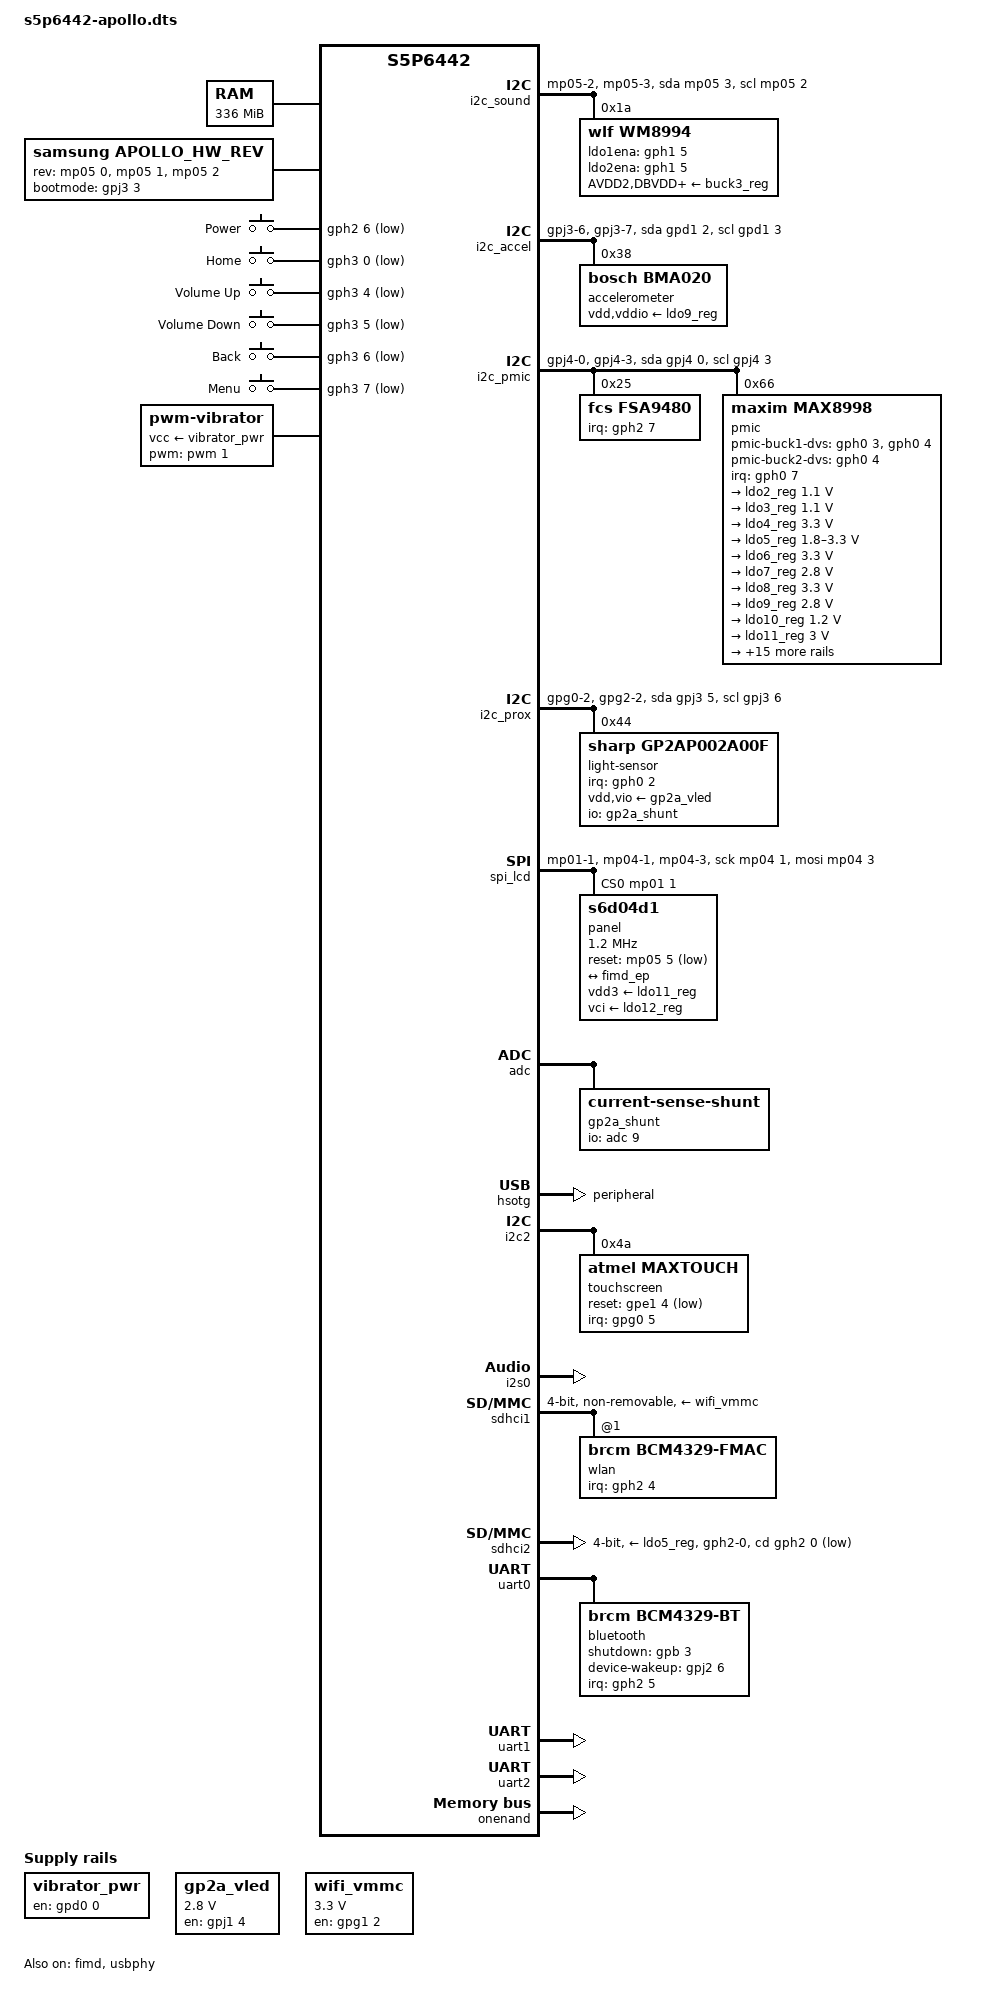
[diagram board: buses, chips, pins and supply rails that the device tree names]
// SPDX-License-Identifier: GPL-2.0
/*
 * Samsung's S5P6442 based Galaxy Apollo board device tree source
 */

/dts-v1/;
#include <dt-bindings/gpio/gpio.h>
#include <dt-bindings/input/input.h>
#include <dt-bindings/interrupt-controller/irq.h>
#include "s5p6442.dtsi"

/ {
	compatible = "samsung,apollo", "samsung,s5p6442";

	aliases: aliases {
		mmc0 = &sdhci2;		// SD Card
		mmc1 = &sdhci1;		// Wi-Fi

		i2c4 = &i2c_sound;
		i2c5 = &i2c_accel;
		i2c6 = &i2c_pmic;
		i2c7 = &i2c_prox;
//		i2c8 = &i2c_fuel;
//		i2c9 = &i2c_touchkey;
//		i2c10 = &i2c_magnetometer;
	};

	memory@20000000 {
		device_type = "memory";
		reg = <0x20000000 0x10000000>,
			<0x40000000 0x05000000>;
	};

	reserved-memory {
		#address-cells = <1>;
		#size-cells = <1>;
		ranges;

		mfc_left: region@43000000 {
			compatible = "shared-dma-pool";
			no-map;
			reg = <0x43000000 0x2000000>;
		};

		mfc_right: region@51000000 {
			compatible = "shared-dma-pool";
			no-map;
			reg = <0x51000000 0x2000000>;
		};
	};

	pmic_ap_clk: clock-0 {
		/* Workaround for missing clock on PMIC */
		compatible = "fixed-clock";
		#clock-cells = <0>;
		clock-frequency = <32768>;
	};

	apollo_hw_rev: apollo_hw_rev {
		compatible = "samsung,apollo_hw_rev";

		rev-gpios = <&mp05 0 GPIO_ACTIVE_HIGH>,   /* Rev Pin 0 */
                    <&mp05 1 GPIO_ACTIVE_HIGH>,   /* Rev Pin 1 */
                    <&mp05 2 GPIO_ACTIVE_HIGH>;   /* Rev Pin 2 */
        bootmode-gpios = <&gpj3 3 GPIO_ACTIVE_HIGH>;
	};

	bt_codec: bt-sco {
		compatible = "linux,bt-sco";
		#sound-dai-cells = <0>;
	};

	vibrator_pwr: regulator-fixed-0 {
		compatible = "regulator-fixed";
		regulator-name = "vibrator-en";
		enable-active-high;
		gpio = <&gpd0 0 GPIO_ACTIVE_HIGH>; // FIXED? GPIO_VIBTONE_PWM			S5P64XX_GPD0(0)

		pinctrl-names = "default";
		pinctrl-0 = <&vibrator_ena>;
	};

	/*
	// Maybe this is needed in GT-i5801, but GT-i5800 has no touchkeys
	touchkey_vdd: regulator-fixed-1 {
		compatible = "regulator-fixed";
		regulator-name = "VTOUCH_3.3V";
		regulator-min-microvolt = <3300000>;
		regulator-max-microvolt = <3300000>;
		enable-active-high;
		gpio = <&gpj3 2 GPIO_ACTIVE_HIGH>; // UNKNOWN

		pinctrl-names = "default";
		pinctrl-0 = <&touchkey_vdd_ena>;
	};
	*/

    gpio-keys {
        compatible = "gpio-keys";
        pinctrl-names = "default";
        pinctrl-0 = <&apollo_power_key &apollo_keys>;

		power {
            label = "Power";
            gpios = <&gph2 6 GPIO_ACTIVE_LOW>;
            linux,code = <KEY_POWER>;
            wakeup-source;
            debounce-interval = <10>;
        };

        home {
            label = "Home";
            gpios = <&gph3 0 GPIO_ACTIVE_LOW>;
            linux,code = <KEY_HOME>;
            wakeup-source;
            debounce-interval = <10>;
        };
		
        volume-up {
            label = "Volume Up";
            gpios = <&gph3 4 GPIO_ACTIVE_LOW>;
            linux,code = <KEY_VOLUMEUP>;
            wakeup-source;
            debounce-interval = <10>;
        };

        volume-down {
            label = "Volume Down";
            gpios = <&gph3 5 GPIO_ACTIVE_LOW>;
            linux,code = <KEY_VOLUMEDOWN>;
            wakeup-source;
            debounce-interval = <10>;
        };

		back {
            label = "Back";
            gpios = <&gph3 6 GPIO_ACTIVE_LOW>;
            linux,code = <KEY_BACK>;
            wakeup-source;
            debounce-interval = <10>;
        };
		
		menu {
            label = "Menu";
            gpios = <&gph3 7 GPIO_ACTIVE_LOW>;
            linux,code = <KEY_MENU>;
            wakeup-source;
            debounce-interval = <10>;
        };
    };

	gp2a_vled: regulator-fixed-2 {
		compatible = "regulator-fixed";
		regulator-name = "VLED";
		enable-active-high;
		gpio = <&gpj1 4 GPIO_ACTIVE_HIGH>; // UNKNOWN
		regulator-min-microvolt = <2800000>;
		regulator-max-microvolt = <2800000>;

		pinctrl-names = "default";
		pinctrl-0 = <&gp2a_power>;
	};

	wifi_pwrseq: wifi-pwrseq {
		compatible = "mmc-pwrseq-simple";
//		reset-gpios = <&gpg1 2 GPIO_ACTIVE_HIGH>; // CONFIRMED

		pinctrl-names = "default";
		pinctrl-0 = <&wlan_gpio_rst>;
		post-power-on-delay-ms = <500>;
		power-off-delay-us = <500>;
	};

	wifi_vmmc: wifi-vmmc {
		compatible = "regulator-fixed";
		regulator-name = "v_batt_wlan";
		regulator-min-microvolt = <3300000>;
		regulator-max-microvolt = <3300000>;
		
		gpio = <&gpg1 2 GPIO_ACTIVE_HIGH>; 
		enable-active-high;
		regulator-always-on;
		regulator-boot-on;
		
		startup-delay-us = <20000>; /* Give it a 20ms hardware stabilization window */
	};

	i2c_sound: i2c-gpio-0 {
		compatible = "i2c-gpio";
		sda-gpios = <&mp05 3 (GPIO_ACTIVE_HIGH | GPIO_OPEN_DRAIN)>; // ASSUMED
		scl-gpios = <&mp05 2 (GPIO_ACTIVE_HIGH | GPIO_OPEN_DRAIN)>; // ASSUMED
		i2c-gpio,delay-us = <2>;
		#address-cells = <1>;
		#size-cells = <0>;

		pinctrl-names = "default";
		pinctrl-0 = <&sound_i2c_pins>;

		wm8994: audio-codec@1a {
			compatible = "wlf,wm8994";
			reg = <0x1a>;

			#sound-dai-cells = <0>;

			gpio-controller;
			#gpio-cells = <2>;

			clocks = <&clocks MOUT_CLKOUT>;
			clock-names = "MCLK1";

			AVDD2-supply = <&buck3_reg>;
			DBVDD-supply = <&buck3_reg>;
			CPVDD-supply = <&buck3_reg>;
			SPKVDD1-supply = <&buck3_reg>;
			SPKVDD2-supply = <&buck3_reg>;

			wlf,gpio-cfg = <0xa101 0x8100 0x0100 0x0100 0x8100
					0xa101 0x0100 0x8100 0x0100 0x0100
					0x0100>;

			wlf,ldo1ena-gpios = <&gph1 5 GPIO_ACTIVE_HIGH>; // ASSUMED	GPIO_CODEC_LDO_EN			S5P64XX_GPH1(5)
			wlf,ldo2ena-gpios = <&gph1 5 GPIO_ACTIVE_HIGH>; // AS ABOVE

			wlf,lineout1-se;
			wlf,lineout2-se;

			assigned-clocks = <&clocks MOUT_CLKOUT>;
			assigned-clock-rates = <0>;
			assigned-clock-parents = <&xusbxti>;

			pinctrl-names = "default";
			pinctrl-0 = <&codec_ldo>;
		};
	};

	i2c_accel: i2c-gpio-1 {
		compatible = "i2c-gpio";
		sda-gpios = <&gpd1 2 (GPIO_ACTIVE_HIGH | GPIO_OPEN_DRAIN)>; // FIXED
		scl-gpios = <&gpd1 3 (GPIO_ACTIVE_HIGH | GPIO_OPEN_DRAIN)>; // FIXED
		i2c-gpio,delay-us = <2>;
		#address-cells = <1>;
		#size-cells = <0>;

		pinctrl-names = "default";
		pinctrl-0 = <&accel_i2c_pins>;

		accelerometer@38 {
			compatible = "bosch,bma020";
			reg = <0x38>;

			vdd-supply = <&ldo9_reg>;
			vddio-supply = <&ldo9_reg>;
		};
	};

	i2c_pmic: i2c-gpio-2 {
		compatible = "i2c-gpio";
		sda-gpios = <&gpj4 0 (GPIO_ACTIVE_HIGH | GPIO_OPEN_DRAIN)>; // CONFIRMED
		scl-gpios = <&gpj4 3 (GPIO_ACTIVE_HIGH | GPIO_OPEN_DRAIN)>; // CONFIRMED
		i2c-gpio,delay-us = <2>;
		#address-cells = <1>;
		#size-cells = <0>;

		pinctrl-names = "default";
		pinctrl-0 = <&pmic_i2c_pins>;

		fsa9480: musb@25 {
			compatible = "fcs,fsa9480";
			reg = <0x25>;
			interrupt-parent = <&gph2>;
			interrupts = <7 IRQ_TYPE_EDGE_FALLING>;

			pinctrl-names = "default";
			pinctrl-0 = <&musb_irq>;
		};

		pmic@66 {
			compatible = "maxim,max8998";
			reg = <0x66>;
			interrupt-parent = <&gph0>;
			interrupts = <7 IRQ_TYPE_EDGE_FALLING>;

			max8998,pmic-buck1-default-dvs-idx = <1>;
			max8998,pmic-buck1-dvs-gpios = <&gph0 3 GPIO_ACTIVE_HIGH>, // CONFIRMED
							<&gph0 4 GPIO_ACTIVE_HIGH>;
			max8998,pmic-buck1-dvs-voltage = <1275000>, <1200000>,
							<1050000>, <950000>;

			max8998,pmic-buck2-default-dvs-idx = <0>;
			max8998,pmic-buck2-dvs-gpio = <&gph0 4 GPIO_ACTIVE_HIGH>; // CONFIRMED
			max8998,pmic-buck2-dvs-voltage = <1100000>, <1000000>;

			extcon = "&fsa9480";

			pinctrl-names = "default";
			pinctrl-0 = <&pmic_dvs_pins &pmic_irq>;

			charger {
				compatible = "maxim,max8998-charger";
			};

			regulators {
				ldo2_reg: LDO2 { // CONFIRMED
					regulator-name = "VALIVE_1.1V";
					regulator-min-microvolt = <1100000>;
					regulator-max-microvolt = <1100000>;
					regulator-always-on;

					regulator-state-mem {
						regulator-on-in-suspend;
					};
				};

				ldo3_reg: LDO3 { // CONFIRMED
					regulator-name = "VUSB_1.1V";
					regulator-min-microvolt = <1100000>;
					regulator-max-microvolt = <1100000>;

					regulator-state-mem {
						regulator-off-in-suspend;
					};
				};

				ldo4_reg: LDO4 { // CONFIRMED
					regulator-name = "VWLAN_3.3V";
					regulator-min-microvolt = <3300000>;
					regulator-max-microvolt = <3300000>;
					
					regulator-always-on;
        			regulator-boot-on;

					regulator-state-mem {
						regulator-off-in-suspend;
					};
				};

				ldo5_reg: LDO5 { // CONFIRMED
					regulator-name = "VTF_3.3V";
					regulator-min-microvolt = <1800000>;
					regulator-max-microvolt = <3300000>;

					regulator-state-mem {
						regulator-off-in-suspend;
					};
				};

				ldo6_reg: LDO6 { // CONFIRMED
					regulator-name = "VCC_3.3V";
					regulator-min-microvolt = <3300000>;
					regulator-max-microvolt = <3300000>;

					regulator-state-mem {
						regulator-off-in-suspend;
					};
				};

				ldo7_reg: LDO7 { // CONFIRMED
					regulator-name = "VLCD_2.8V";
					regulator-min-microvolt = <2800000>;
					regulator-max-microvolt = <2800000>;

					regulator-state-mem {
						regulator-off-in-suspend;
					};
				};

				ldo8_reg: LDO8 { // CONFIRMED
					regulator-name = "VUSB_3.3V";
					regulator-min-microvolt = <3300000>;
					regulator-max-microvolt = <3300000>;

					regulator-state-mem {
						regulator-off-in-suspend;
					};
				};

				ldo9_reg: LDO9 { // LIKELY
					regulator-name = "VCC_2.8V_PDA";
					regulator-min-microvolt = <2800000>;
					regulator-max-microvolt = <2800000>;
					regulator-always-on;
				};

				ldo10_reg: LDO10 { // CONFIRMED
					regulator-name = "VPLL_1.2V";
					regulator-min-microvolt = <1200000>;
					regulator-max-microvolt = <1200000>;
					regulator-always-on;

					regulator-state-mem {
						regulator-on-in-suspend;
					};
				};

				ldo11_reg: LDO11 {
					regulator-name = "VLCD_3.0V";
					regulator-min-microvolt = <3000000>;
					regulator-max-microvolt = <3000000>;

					regulator-state-mem {
						regulator-off-in-suspend;
					};
				};

				ldo12_reg: LDO12 {
					regulator-name = "VLCD_1.8V";
					regulator-min-microvolt = <1800000>;
					regulator-max-microvolt = <1800000>;

					regulator-state-mem {
						regulator-off-in-suspend;
					};
				};

				ldo13_reg: LDO13 {
					regulator-name = "VTOUCH_2.8V";
					regulator-min-microvolt = <2800000>;
					regulator-max-microvolt = <2800000>;

					regulator-state-mem {
						regulator-off-in-suspend;
					};
				};

				ldo14_reg: LDO14 {
					regulator-name = "VTOUCH_3.0V";
					regulator-min-microvolt = <3000000>;
					regulator-max-microvolt = <3000000>;

					regulator-state-mem {
						regulator-off-in-suspend;
					};
				};

				ldo15_reg: LDO15 {
					regulator-name = "VPWM_3.3V";
					regulator-min-microvolt = <3300000>;
					regulator-max-microvolt = <3300000>;

					regulator-state-mem {
						regulator-off-in-suspend;
					};
				};

				ldo16_reg: LDO16 {
					regulator-name = "VPROX_3.0V";
					regulator-min-microvolt = <3000000>;
					regulator-max-microvolt = <3000000>;

					regulator-state-mem {
						regulator-off-in-suspend;
					};
				};

				ldo17_reg: LDO17 {
					regulator-name = "VKEYLED_3.0V";
					regulator-min-microvolt = <3000000>;
					regulator-max-microvolt = <3000000>;

					regulator-state-mem {
						regulator-off-in-suspend;
					};
				};

				buck1_reg: BUCK1 { // CONFIRMED
					regulator-name = "vddarm";
					regulator-min-microvolt = <750000>;
					regulator-max-microvolt = <1500000>;

					regulator-state-mem {
						regulator-off-in-suspend;
						regulator-suspend-microvolt = <1250000>;
					};
				};

				buck2_reg: BUCK2 { // CONFIRMED
					regulator-name = "vddint";
					regulator-min-microvolt = <750000>;
					regulator-max-microvolt = <1500000>;

					regulator-state-mem {
						regulator-off-in-suspend;
						regulator-suspend-microvolt = <1100000>;
					};
				};

				buck3_reg: BUCK3 { // MAYBE. VDDMEM
					regulator-name = "VCC_1.8V";
					regulator-min-microvolt = <1800000>;
					regulator-max-microvolt = <1800000>;
					regulator-always-on;
				};

				buck4_reg: BUCK4 { // UNKNOWN
					regulator-name = "CAM_ISP_CORE_1.2V";
					regulator-min-microvolt = <1200000>;
					regulator-max-microvolt = <1200000>;

					regulator-state-mem {
						regulator-off-in-suspend;
					};
				};

				ap32khz_reg: EN32KHz-AP {
					regulator-name = "32KHz AP";
					regulator-always-on;
				};

				cp32khz_reg: EN32KHz-CP {
					regulator-name = "32KHz CP";
				};

				vichg_reg: ENVICHG {
					regulator-name = "VICHG";
					regulator-always-on;
				};

				safe1_sreg: ESAFEOUT1 {
					regulator-name = "SAFEOUT1";
				};

				safe2_sreg: ESAFEOUT2 {
					regulator-name = "SAFEOUT2";
				};
			};
		};
	};

/*	i2c_fuel: i2c-gpio-4 {
		compatible = "i2c-gpio";
		sda-gpios = <&mp05 1 (GPIO_ACTIVE_HIGH | GPIO_OPEN_DRAIN)>; // UNKNOWN
		scl-gpios = <&mp05 0 (GPIO_ACTIVE_HIGH | GPIO_OPEN_DRAIN)>; // UNKNOWN
		i2c-gpio,delay-us = <2>;
		#address-cells = <1>;
		#size-cells = <0>;

		pinctrl-names = "default";
		pinctrl-0 = <&fg_i2c_pins>;

		fg: fuelgauge@36 {
			compatible = "maxim,max17040";
			reg = <0x36>;
		};
	}; */

/*	i2c_touchkey: i2c-gpio-5 {
		compatible = "i2c-gpio";
		sda-gpios = <&gpj3 0 (GPIO_ACTIVE_HIGH | GPIO_OPEN_DRAIN)>; // UNKNOWN
		scl-gpios = <&gpj3 1 (GPIO_ACTIVE_HIGH | GPIO_OPEN_DRAIN)>; // UNKNOWN
		i2c-gpio,delay-us = <2>;
		#address-cells = <1>;
		#size-cells = <0>;

		pinctrl-names = "default";
		pinctrl-0 = <&touchkey_i2c_pins>;

		/* touchkey@20 {
			compatible = "cypress,apollo-touchkey";
			reg = <0x20>;
			vdd-supply = <&touchkey_vdd>;
			vcc-supply = <&buck3_reg>;
			linux,keycodes = <KEY_MENU KEY_BACK
					  KEY_HOMEPAGE KEY_SEARCH>;
			interrupt-parent = <&gpj4>;
			interrupts = <1 IRQ_TYPE_LEVEL_LOW>;

			pinctrl-names = "default";
			pinctrl-0 = <&touchkey_irq>;
		};
	}; */

	i2c_prox: i2c-gpio-6 {
		compatible = "i2c-gpio";
		sda-gpios = <&gpj3 5 (GPIO_ACTIVE_HIGH | GPIO_OPEN_DRAIN)>; // UNKNOWN
		scl-gpios = <&gpj3 6 (GPIO_ACTIVE_HIGH | GPIO_OPEN_DRAIN)>; // UNKNOWN
		i2c-gpio,delay-us = <2>;
		#address-cells = <1>;
		#size-cells = <0>;

		pinctrl-names = "default";
		pinctrl-0 = <&prox_i2c_pins>;

		light-sensor@44 {
			compatible = "sharp,gp2ap002a00f";
			reg = <0x44>;
			interrupt-parent = <&gph0>; // UNKNOWN
			interrupts = <2 IRQ_TYPE_EDGE_FALLING>;
			vdd-supply = <&gp2a_vled>;
			vio-supply = <&gp2a_vled>;
			io-channels = <&gp2a_shunt>;
			io-channel-names = "alsout";
			sharp,proximity-far-hysteresis = /bits/ 8 <0x40>;
			sharp,proximity-close-hysteresis = /bits/ 8 <0x20>;

			pinctrl-names = "default";
			pinctrl-0 = <&gp2a_irq>;
		};
	};

/*	i2c_magnetometer: i2c-gpio-7 {
		compatible = "i2c-gpio";
		sda-gpios = <&gpj0 1 (GPIO_ACTIVE_HIGH | GPIO_OPEN_DRAIN)>; // UNKNOWN
		scl-gpios = <&gpj0 0 (GPIO_ACTIVE_HIGH | GPIO_OPEN_DRAIN)>; // UNKNOWN
		i2c-gpio,delay-us = <2>;
		#address-cells = <1>;
		#size-cells = <0>;

		pinctrl-names = "default";
		pinctrl-0 = <&magnetometer_i2c_pins>;

		status = "disabled";

		// Yamaha yas529 magnetometer, no mainline binding
	}; */

	vibrator: pwm-vibrator {
		compatible = "pwm-vibrator";
		pwms = <&pwm 1 44642 0>;
		pwm-names = "enable";
		vcc-supply = <&vibrator_pwr>;
		pinctrl-names = "default";
		pinctrl-0 = <&pwm1_out>;
	};

	poweroff: syscon-poweroff {
		compatible = "syscon-poweroff";
		regmap = <&pmu_syscon>;
		offset = <0x681c>; /* PS_HOLD_CONTROL */
		value = <0x5200>;
	};

	spi_lcd: spi-2 {
		compatible = "spi-gpio";
		#address-cells = <1>;
		#size-cells = <0>;

		sck-gpios = <&mp04 1 GPIO_ACTIVE_HIGH>; // CONFIRMED
		mosi-gpios = <&mp04 3 GPIO_ACTIVE_HIGH>; // CONFIRMED
		cs-gpios = <&mp01 1 GPIO_ACTIVE_HIGH>; // CONFIRMED
		spi-3wire;
		num-chipselects = <1>;

		pinctrl-names = "default";
		pinctrl-0 = <&lcd_spi_pins>;

		panel@0 {
			compatible = "s6d04d1", "samsung,s6d04d1";
			reg = <0>;

			spi-3wire;
			reset-gpios = <&mp05 5 GPIO_ACTIVE_LOW>; // CONFIRMED
			vdd3-supply = <&ldo11_reg>;
			vci-supply = <&ldo12_reg>;
			spi-max-frequency = <1200000>;

			pinctrl-names = "default";
			pinctrl-0 = <&panel_rst>;

			port {
				lcd_ep: endpoint {
					remote-endpoint = <&fimd_ep>;
				};
			};
		};
	};
};

&adc {
//	vdd-supply = <&ldo4_reg>;

	status = "okay";

	gp2a_shunt: current-sense-shunt {
		compatible = "current-sense-shunt";
		io-channels = <&adc 9>;
		shunt-resistor-micro-ohms = <47000000>; /* 47 ohms */
		#io-channel-cells = <0>;
	};
};

&fimd {
	pinctrl-names = "default";
	pinctrl-0 = <&lcd_ctrl &lcd_sync &lcd_clk &lcd_data24>;
	status = "okay";

//	samsung,invert-vden = <0>;
	samsung,invert-vclk = <1>;

	#address-cells = <1>;
	#size-cells = <0>;

	port@3 {
		reg = <3>;
		fimd_ep: endpoint {
			remote-endpoint = <&lcd_ep>;
		};
	};
};

&hsotg {
	vusb_a-supply = <&ldo8_reg>;
	vusb_d-supply = <&ldo3_reg>;
	dr_mode = "peripheral";
	status = "okay";
};

&i2c2 {
	samsung,i2c-sda-delay = <100>;
	samsung,i2c-max-bus-freq = <400000>;
	samsung,i2c-slave-addr = <0x10>;
	status = "okay";

	touchscreen@4a {
		compatible = "atmel,maxtouch";
		reg = <0x4a>;
		interrupt-parent = <&gpg0>; // UNKNOWN
		interrupts = <5 IRQ_TYPE_EDGE_FALLING>;
		pinctrl-names = "default";
		pinctrl-0 = <&ts_irq>;
		reset-gpios = <&gpe1 4 GPIO_ACTIVE_LOW>;
	};
};

&i2s0 {
	dmas = <&pdma0 10>, <&pdma0 9>, <&pdma0 11>;
	status = "okay";
};

&mfc {
	memory-region = <&mfc_left>, <&mfc_right>;
};

&pinctrl0 {
	bt_reset: bt-reset-pins {
		samsung,pins = "gpj3-7"; // CONFIRMED
		samsung,pin-function = <S5P6442_PIN_FUNC_OUTPUT>;
		samsung,pin-pud = <S5P6442_PIN_PULL_NONE>;
		samsung,pin-drv = <S5P6442_PIN_DRV_LV1>;
	};

	wlan_bt_en: wlan-bt-en-pins {
		samsung,pins = "gpj3-0"; // CONFIRMED
		samsung,pin-function = <S5P6442_PIN_FUNC_OUTPUT>;
		samsung,pin-pud = <S5P6442_PIN_PULL_NONE>;
		samsung,pin-val = <1>;
	};

	codec_ldo: codec-ldo-pins {
		samsung,pins = "gph1-5"; // CONFIRMED
		samsung,pin-function = <S5P6442_PIN_FUNC_OUTPUT>;
		samsung,pin-pud = <S5P6442_PIN_PULL_NONE>;
	};

	prox_i2c_pins: gp2a-i2c-pins {
		samsung,pins = "gpg0-2", "gpg2-2"; // UNKNOWN
		samsung,pin-pud = <S5P6442_PIN_PULL_NONE>;
		samsung,pin-drv = <S5P6442_PIN_DRV_LV1>;
	};

	wlan_gpio_rst: wlan-gpio-rst-pins {
		samsung,pins = "gpg1-2"; // CONFIRMED
		samsung,pin-function = <S5P6442_PIN_FUNC_OUTPUT>;
//		samsung,pin-pud = <S5P6442_PIN_PULL_NONE>;
	    samsung,pin-val = <1>;           /* 1 = Hardwired Logic High (3.3V) */
		samsung,pin-pud = <0>;           /* 0 = Disable pull-up/down (let it drive raw) */
    	samsung,pin-drv = <3>;           /* 3 = Force maximum hardware drive strength */

	};

	bt_wake: bt-wake-pins { // CONFIRMED
		samsung,pins = "gpj2-6";
		samsung,pin-function = <S5P6442_PIN_FUNC_OUTPUT>;
		samsung,pin-pud = <S5P6442_PIN_PULL_NONE>;
	};

	gp2a_irq: gp2a-irq-pins {
		samsung,pins = "gph0-2"; // UNKNOWN
		samsung,pin-function = <S5P6442_PIN_FUNC_F>;
		samsung,pin-pud = <S5P6442_PIN_PULL_DOWN>;
		samsung,pin-drv = <S5P6442_PIN_DRV_LV1>;
	};

	pmic_dvs_pins: pmic-dvs-pins {
		samsung,pins = "gph0-3", "gph0-4", "gph0-5"; // UNKNOWN
		samsung,pin-function = <S5P6442_PIN_FUNC_OUTPUT>;
		samsung,pin-pud = <S5P6442_PIN_PULL_NONE>;
		samsung,pin-drv = <S5P6442_PIN_DRV_LV1>;
		samsung,pin-val = <0>;
	};

	pmic_irq: pmic-irq-pins {
		samsung,pins = "gph0-7"; // CONFIRMED
		samsung,pin-function = <S5P6442_PIN_FUNC_F>;
		samsung,pin-pud = <S5P6442_PIN_PULL_NONE>;
		samsung,pin-drv = <S5P6442_PIN_DRV_LV1>;
	};

	wifi_host_wake: wifi-host-wake-pins {
		samsung,pins = "gph2-4"; // CONFIRMED
		samsung,pin-function = <S5P6442_PIN_FUNC_INPUT>;
		samsung,pin-pud = <S5P6442_PIN_PULL_DOWN>;
		samsung,pin-drv = <S5P6442_PIN_DRV_LV1>;
	};

	bt_host_wake: bt-host-wake-pins {
		samsung,pins = "gph2-5"; // CONFIRMED
		samsung,pin-function = <S5P6442_PIN_FUNC_INPUT>;
		samsung,pin-pud = <S5P6442_PIN_PULL_DOWN>;
		samsung,pin-drv = <S5P6442_PIN_DRV_LV1>;
	};

	musb_irq: musq-irq-pins {
		samsung,pins = "gph2-7";
		samsung,pin-function = <S5P6442_PIN_FUNC_INPUT>;
		samsung,pin-pud = <S5P6442_PIN_PULL_UP>;
		samsung,pin-drv = <S5P6442_PIN_DRV_LV1>;
	};

	tf_detect: tf-detect-pins {
		samsung,pins = "gph2-0"; // CONFIRMED
		samsung,pin-function = <S5P6442_PIN_FUNC_INPUT>;
		samsung,pin-pud = <S5P6442_PIN_PULL_DOWN>;
		samsung,pin-drv = <S5P6442_PIN_DRV_LV1>;
	};

	wifi_wake: wifi-wake-pins {
		samsung,pins = "gpj2-7"; // CONFIRMED
		samsung,pin-function = <S5P6442_PIN_FUNC_OUTPUT>;
		samsung,pin-pud = <S5P6442_PIN_PULL_NONE>;
	};

	magnetometer_i2c_pins: yas529-i2c-pins {
		samsung,pins = "gpj0-0", "gpj0-1"; // UNKNOWN
		samsung,pin-pud = <S5P6442_PIN_PULL_NONE>;
		samsung,pin-drv = <S5P6442_PIN_DRV_LV1>;
	};

	ts_irq: ts-irq-pins {
		samsung,pins = "gpj0-5"; // UNKNOWN
		samsung,pin-function = <S5P6442_PIN_FUNC_INPUT>;
		samsung,pin-pud = <S5P6442_PIN_PULL_NONE>;
		samsung,pin-drv = <S5P6442_PIN_DRV_LV1>;
	};

	vibrator_ena: vibrator-ena-pins {
		samsung,pins = "gpj1-1"; // UNKNOWN
		samsung,pin-pud = <S5P6442_PIN_PULL_NONE>;
		samsung,pin-drv = <S5P6442_PIN_DRV_LV1>;
	};

	gp2a_power: gp2a-power-pins {
		samsung,pins = "gpj1-4"; // UNKNOWN
		samsung,pin-function = <S5P6442_PIN_FUNC_OUTPUT>;
		samsung,pin-pud = <S5P6442_PIN_PULL_NONE>;
		samsung,pin-drv = <S5P6442_PIN_DRV_LV1>;
	};

	touchkey_i2c_pins: touchkey-i2c-pins {
		samsung,pins = "gpj3-0", "gpj3-1"; // UNKNOWN
		samsung,pin-pud = <S5P6442_PIN_PULL_NONE>;
		samsung,pin-drv = <S5P6442_PIN_DRV_LV1>;
	};

	touchkey_vdd_ena: touchkey-vdd-ena-pins {
		samsung,pins = "gpj3-2"; // UNKNOWN
		samsung,pin-pud = <S5P6442_PIN_PULL_NONE>;
		samsung,pin-drv = <S5P6442_PIN_DRV_LV1>;
	};

	musb_i2c_pins: musb-i2c-pins {
		samsung,pins = "gpj3-4", "gpj3-5"; // UNKNOWN
		samsung,pin-pud = <S5P6442_PIN_PULL_NONE>;
		samsung,pin-drv = <S5P6442_PIN_DRV_LV1>;
	};

	accel_i2c_pins: accel-i2c-pins {
		samsung,pins = "gpj3-6", "gpj3-7"; // UNKNOWN
		samsung,pin-pud = <S5P6442_PIN_PULL_NONE>;
		samsung,pin-drv = <S5P6442_PIN_DRV_LV1>;
	};

	pmic_i2c_pins: pmic-i2c-pins {
		samsung,pins = "gpj4-0", "gpj4-3"; // UNKNOWN
		samsung,pin-pud = <S5P6442_PIN_PULL_NONE>;
		samsung,pin-drv = <S5P6442_PIN_DRV_LV1>;
	};

	touchkey_irq: touchkey-irq-pins {
		samsung,pins = "gpj4-1"; // UNKNOWN
		samsung,pin-function = <S5P6442_PIN_FUNC_INPUT>;
		samsung,pin-pud = <S5P6442_PIN_PULL_UP>;
		samsung,pin-drv = <S5P6442_PIN_DRV_LV1>;
	};

	lcd_spi_pins: spi-lcd-pins {
		samsung,pins = "mp01-1", "mp04-1", "mp04-3"; // CONFIRMED
		samsung,pin-pud = <S5P6442_PIN_PULL_NONE>;
		samsung,pin-drv = <S5P6442_PIN_DRV_LV1>;
	};

/*	fg_i2c_pins: fg-i2c-pins {
		samsung,pins = "mp05-0", "mp05-1"; // UNKNOWN
		samsung,pin-pud = <S5P6442_PIN_PULL_NONE>;
		samsung,pin-drv = <S5P6442_PIN_DRV_LV1>;
	}; */

	sound_i2c_pins: sound-i2c-pins {
		samsung,pins = "mp05-2", "mp05-3"; // UNKNOWN
		samsung,pin-pud = <S5P6442_PIN_PULL_NONE>;
		samsung,pin-drv = <S5P6442_PIN_DRV_LV1>;
	};

	panel_rst: panel-rst-pins {
		samsung,pins = "mp05-5"; // CONFIRMED
		samsung,pin-pud = <S5P6442_PIN_PULL_NONE>;
		samsung,pin-drv = <S5P6442_PIN_DRV_LV1>;
	};

	apollo_power_key: apollo-power-key {
		samsung,pins = "gph2-6";
		samsung,pin-function = <S5P6442_PIN_FUNC_INPUT>;
		samsung,pin-pud = <S5P6442_PIN_PULL_UP>;
		samsung,pin-drv = <S5P6442_PIN_DRV_LV1>;
	};

	apollo_keys: apollo-keys {
		samsung,pins = "gph3-0", "gph3-4", "gph3-5", "gph3-6", "gph3-7";
		samsung,pin-function = <S5P6442_PIN_FUNC_INPUT>;
		samsung,pin-pud = <S5P6442_PIN_PULL_UP>;
		samsung,pin-drv = <S5P6442_PIN_DRV_LV1>;
	};
};

&pwm {
	samsung,pwm-outputs = <1>;
};

&rtc {
	clocks = <&clocks CLK_RTC>, <&pmic_ap_clk>;
	clock-names = "rtc", "rtc_src";
};

&sdhci0 {	// Unused
	status = "disabled";

	assigned-clocks = <&clocks MOUT_MMC0>, <&clocks SCLK_MMC0>;
	assigned-clock-rates = <0>, <50000000>;
	assigned-clock-parents = <&clocks MOUT_MPLL>;
};

&sdhci1 {	// WiFi
	#address-cells = <1>;
	#size-cells = <0>;

	bus-width = <4>;
	max-frequency = <38400000>;
	pinctrl-0 = <&sd1_clk &sd1_cmd &sd1_bus4>;
	pinctrl-names = "default";
	cap-sd-highspeed;
	cap-mmc-highspeed;
	cap-power-off-card;
	keep-power-in-suspend;

	vmmc-supply = <&wifi_vmmc>;
	// mmc-pwrseq = <&wifi_pwrseq>;
	non-removable;
	status = "okay";

//	assigned-clocks = <&clocks MOUT_MMC1>, <&clocks SCLK_MMC1>;
//	assigned-clock-rates = <0>, <50000000>;
//	assigned-clock-parents = <&clocks MOUT_MPLL>;

	wlan@1 {
		reg = <1>;
		compatible = "brcm,bcm4329-fmac";
		interrupt-parent = <&gph2>; // CONFIRMED
		interrupts = <4 IRQ_TYPE_LEVEL_HIGH>;
		interrupt-names = "host-wake";
	};
};

&sdhci2 {	// MMC Card
	bus-width = <4>;
	cd-gpios = <&gph2 0 GPIO_ACTIVE_LOW>;
	vmmc-supply = <&ldo5_reg>;
	pinctrl-0 = <&sd2_clk &sd2_cmd &sd2_bus4 &tf_detect>;
	pinctrl-names = "default";
	status = "okay";

	assigned-clocks = <&clocks MOUT_MMC2>, <&clocks SCLK_MMC2>;
	assigned-clock-rates = <0>, <50000000>;
	assigned-clock-parents = <&clocks MOUT_MPLL>;
};

&uart0 {
	assigned-clocks = <&clocks MOUT_UART0>, <&clocks SCLK_UART0>;
	assigned-clock-rates = <0>, <111166667>;
	assigned-clock-parents = <&clocks MOUT_MPLL>;

	status = "okay";

	bluetooth {
		compatible = "brcm,bcm4329-bt";
		max-speed = <3000000>;
		pinctrl-names = "default";
		pinctrl-0 = <&uart0_data &uart0_fctl &bt_host_wake
			     &bt_reset &bt_wake>;
		shutdown-gpios = <&gpb 3 GPIO_ACTIVE_HIGH>;
		device-wakeup-gpios = <&gpj2 6 GPIO_ACTIVE_HIGH>;
		interrupt-parent = <&gph2>;
		interrupts = <5 IRQ_TYPE_LEVEL_HIGH>;
		interrupt-names = "host-wakeup";
	};
};

&uart1 {
	status = "okay";
};

&uart2 {
	status = "okay";
};

&usbphy {
	status = "okay";
	vbus-supply = <&safe1_sreg>;
};

&xusbxti {
	clock-frequency = <12000000>;
};

&onenand {
	status = "okay";
};
